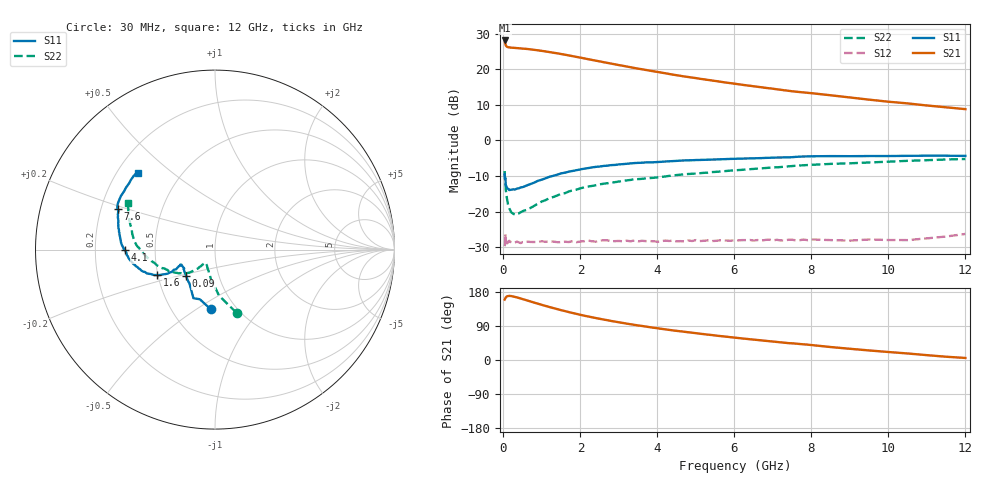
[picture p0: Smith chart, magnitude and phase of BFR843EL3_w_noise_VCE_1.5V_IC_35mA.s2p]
! Infineon Technologies  Discrete & RF Semiconductors
! BFR843EL3
! VCE =  1.5 V,  IC =  35 mA
! Common Emitter S-Parameters:  Aug 2013
# GHz  S  MA  R  50
!  f  S11  S21  S12  S22
! GHz  MAG  ANG  MAG  ANG  MAG  ANG  MAG  ANG
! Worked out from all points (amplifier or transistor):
!   103 points, 30 MHz to 12 GHz, reference 50 ohm
!   highest |S21| = 28.1 dB at 30 MHz (marker M1)
!   |S21| within 3 dB of that: start of sweep to 1.038 GHz
!   unconditionally stable (mu >= 1): 181.5 MHz to 800.1 MHz; 2.886 GHz to end of sweep
!   at 400 MHz: K = 1.01, MAG = 26.6 dB, |S12| = -28.6 dB
!   at 3.7 GHz: K = 1.05, MAG = 22.7 dB, |S12| = -28.3 dB
!   at 12 GHz: K = 1.85, MAG = 12.2 dB, |S12| = -26.3 dB
!   lowest NFmin = 1.43 dB at 450 MHz
!   S11 on the Smith chart (normalised r, x): 30 MHz: 0.77, -0.57; 90 MHz: 0.70, -0.22; 1.6 GHz: 0.49, -0.16; 4.1 GHz: 0.33, -0.00; 7.6 GHz: 0.27, +0.19; 12 GHz: 0.28, +0.38
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0.03  0.3326 -94.2  25.48 159.4  0.0327 27.4  0.3721 -71.1
0.04  0.2893 -107.0  23.58 161.4  0.0344 18.9  0.295 -79.1
0.06  0.2358 -127.2  21.7 165.1  0.0343 5.7  0.2081 -90.2
0.09  0.2181 -137.4  20.85 167.7  0.0369 8.9  0.1539 -99.8
0.15  0.2008 -148.5  20.36 169.2  0.0389 8.0  0.1117 -111.8
0.2  0.2033 -152.4  20.19 168.7  0.0371 5.9  0.0981 -117.5
0.35  0.2105 -156.7  19.9 165.2  0.0379 3.1  0.0939 -126.8
0.6  0.2326 -154.1  19.38 157.6  0.038 2.4  0.106 -129.0
1  0.282 -153.1  18.16 145.4  0.0384 3.7  0.1389 -131.9
1.3  0.3194 -154.4  17.12 136.9  0.0379 4.3  0.1609 -135.0
1.6  0.353 -156.4  16.05 129.0  0.0377 4.6  0.182 -137.0
2.1  0.4023 -160.8  14.25 116.9  0.0384 5.3  0.2195 -143.0
2.6  0.4389 -166.3  12.62 106.8  0.0396 5.6  0.2466 -148.2
3  0.4614 -170.0  11.47 99.5  0.0387 6.9  0.2649 -151.5
3.5  0.4848 -174.6  10.24 91.2  0.0382 8.2  0.2865 -156.2
4.1  0.5015 -179.5  9.008 82.3  0.0384 8.6  0.3068 -160.1
5.1  0.5326 172.8  7.378 69.4  0.0386 11.5  0.3467 -167.8
6.1  0.555 166.2  6.179 58.0  0.0394 12.9  0.3839 -174.0
7.6  0.5888 157.3  4.854 43.2  0.0394 17.9  0.4419 175.9
8.5  0.6033 150.5  4.321 34.2  0.0398 17.0  0.469 169.4
10.5  0.6087 140.3  3.322 17.2  0.0398 28.2  0.5179 158.4
12  0.6077 135.2  2.759 5.4  0.0486 37.9  0.5496 152.1
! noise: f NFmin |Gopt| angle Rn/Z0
0.45  1.43  0.2  177  0.13
0.9  1.45  0.21  174  0.12
1.5  1.45  0.23  173  0.11
1.9  1.44  0.23  174  0.11
2.4  1.46  0.25  178  0.11
3.5  1.46  0.26  182  0.11
5.5  1.47  0.33  195  0.09
8  1.49  0.43  210  0.09
10  1.5  0.51  227  0.11
